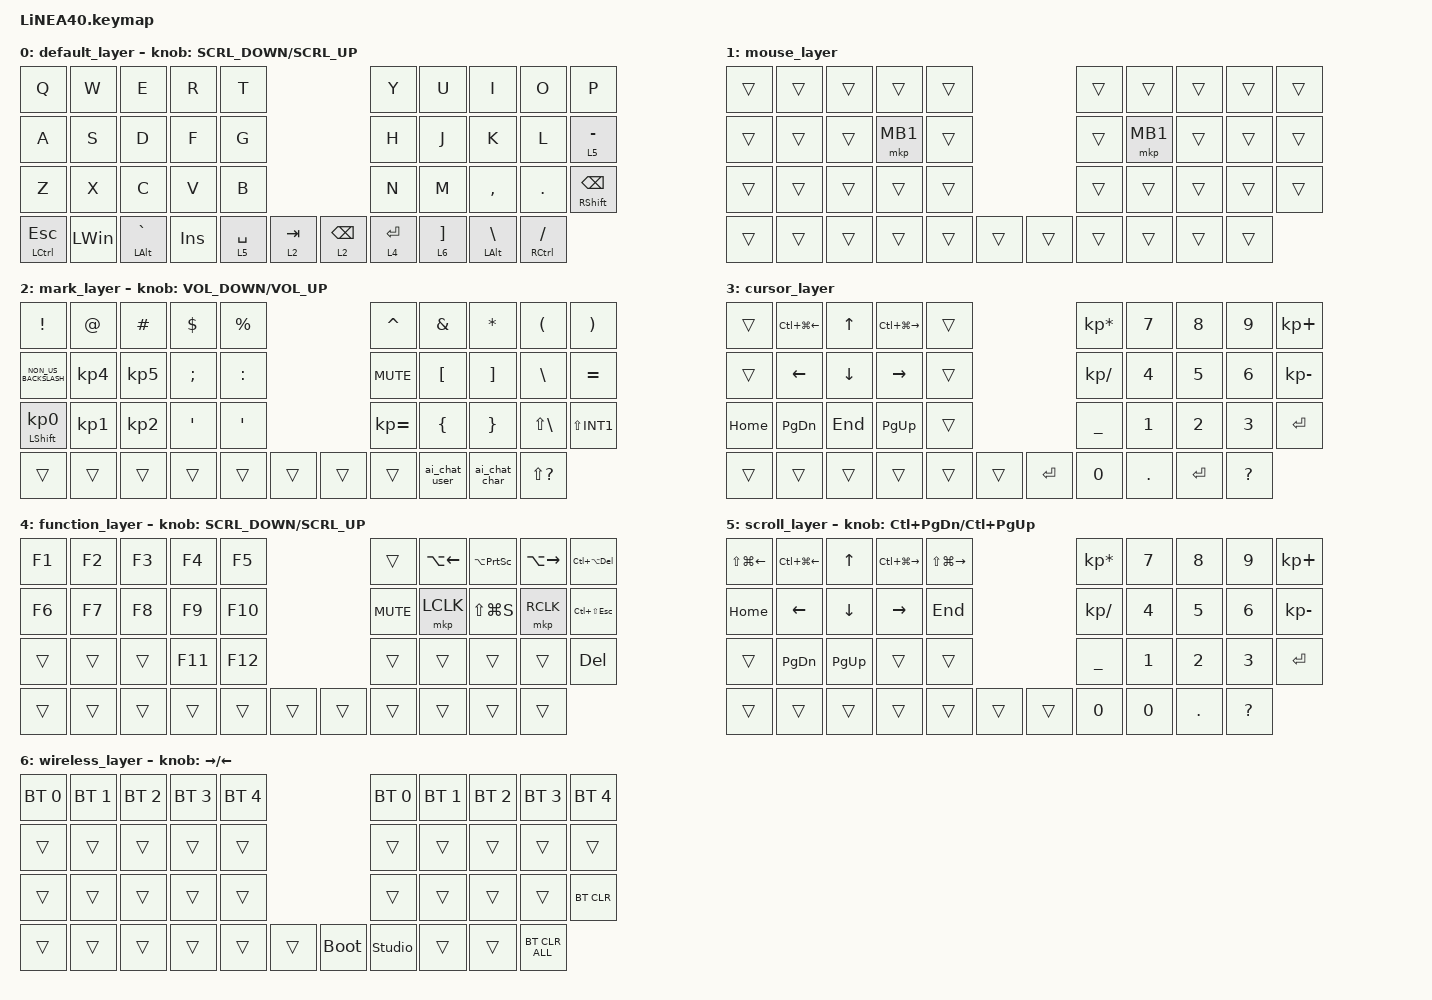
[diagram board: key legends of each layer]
#define ZMK_POINTING_DEFAULT_SCRL_VAL 75

#include <dt-bindings/zmk/input_transform.h>
#include <input/processors.dtsi>
#include <zephyr/dt-bindings/input/input-event-codes.h>
#include <behaviors.dtsi>
#include <dt-bindings/zmk/bt.h>
#include <dt-bindings/zmk/keys.h>
#include <dt-bindings/zmk/pointing.h>

#define MOUSE 1
#define MARK 2
#define CURSOR 3
#define FUNCTION 4
#define SCROLL 5
#define WIRELESS 6

//mouse cursol

&mmv {
    delay-ms = <20>;
    trigger-period-ms = <5>;
    time-to-max-speed-ms = <100>;
    acceleration-exponent = <2>;
};

//mouse scroll

&msc {
    delay-ms = <3>;
    trigger-period-ms = <3>;
    time-to-max-speed-ms = <100>;
    acceleration-exponent = <0>;
};

/ {
    input_processors {
        zip_wheel_scaler: zip_wheel_scaler {
            compatible = "zmk,input-processor-scaler";
            #input-processor-cells = <2>;
            type = <INPUT_EV_REL>;
            codes = <INPUT_REL_WHEEL>;
            track-remainders;
        };

        // 名前を変更（my_scroll_scaler など、重複しない名前に）

        my_scroll_scaler: my_scroll_scaler {
            compatible = "zmk,input-processor-scaler";
            #input-processor-cells = <2>;
            type = <INPUT_EV_REL>;
            codes = <INPUT_REL_WHEEL INPUT_REL_HWHEEL>;
            track-remainders;
        };
    };
};

&msc_input_listener {
    speed_up {
        layers = <FUNCTION>;
        input-processors = <&zip_wheel_scaler 3 1>; //スクロールを3倍速にする
    };
};

&trackball_listener {
    scroller {
        layers = <SCROLL>;
        input-processors =
            <&zip_xy_transform INPUT_TRANSFORM_Y_INVERT>,
            //スクロール方向を逆転,,,,,,,,,,,,,,,,,,,,,,,,,,,,,,,,
            <&zip_xy_to_scroll_mapper>,
            <&my_scroll_scaler 1 1>;

        // ← 変換後にスケーリング（1/1速度）
    };
};

/ {
    combos {
        compatible = "zmk,combos";

        ZenkakuHankaku {
            bindings = <&hankakuzenkaku>;
            key-positions = <11 12>;
        };

        DeleteKey {
            bindings = <&kp DEL>;
            key-positions = <7 8>;
        };

        InsertKey {
            bindings = <&kp INS>;
            key-positions = <6 7>;
        };

        CenterClick {
            bindings = <&mkp MB3>;
            key-positions = <17 16>;
        };

        RightClick {
            bindings = <&mkp MB2>;
            key-positions = <18 17>;
        };

        PrevClick {
            bindings = <&mkp MB5>;
            key-positions = <27 28>;
        };

        ClickNext {
            bindings = <&mkp MB4>;
            key-positions = <26 27>;
        };

        ahkmodifire {
            bindings = <&kp F13>;
            key-positions = <28 29>;
        };

        Lshift {
            bindings = <&kp LEFT_SHIFT>;
            key-positions = <20 21>;
        };

        voiceinput {
            bindings = <&kp LS(LA(SPACE))>;
            key-positions = <15 16>;
        };
    };

    behaviors {
        re_kp: sensor_rotate_kp {
            compatible = "zmk,behavior-sensor-rotate-var";
            #sensor-binding-cells = <2>;
            bindings = <&kp>, <&kp>;
        };

        mouse_scrl: mouse_wheel_scrl {
            compatible = "zmk,behavior-sensor-rotate-var";
            #sensor-binding-cells = <2>;
            bindings = <&msc>, <&msc>;

            tap-ms = <20>;
        };
    };

    macros {
        hankakuzenkaku: hankakuzenkaku {
            compatible = "zmk,behavior-macro";
            #binding-cells = <0>;
            bindings =
                <&macro_press>,
                <&kp LALT>,
                <&macro_tap>,
                <&kp GRAVE>,
                <&macro_release>,
                <&kp LALT>;

            label = "HANKAKUZENKAKU";
        };

        ai_chat_user: ai_chat_user {
            compatible = "zmk,behavior-macro";
            #binding-cells = <0>;
            bindings = <&none &kp LT &kp U &kp S &kp E &kp R &kp GT>;
            label = "AI_CHAT_USER";
        };

        ai_chat_char: ai_chat_char {
            compatible = "zmk,behavior-macro";
            #binding-cells = <0>;
            bindings = <&none &kp LT &kp C &kp H &kp A &kp R &kp GT>;
            label = "AI_CHAT_CHAR";
        };
    };

    keymap {
        compatible = "zmk,keymap";

        default_layer {
            bindings = <
&kp Q          &kp W         &kp E               &kp R    &kp T                                      &kp Y        &kp U  &kp I                &kp O                   &kp P
&kp A          &kp S         &kp D               &kp F    &kp G                                      &kp H        &kp J  &kp K                &kp L                   &lt 5 MINUS
&kp Z          &kp X         &kp C               &kp V    &kp B                                      &kp N        &kp M  &kp COMMA            &kp DOT                 &mt RIGHT_SHIFT BACKSPACE
&mt LCTRL ESC  &kp LEFT_WIN  &mt LEFT_ALT GRAVE  &kp INS  &lt 5 SPACE  &lt 2 TAB    &lt 2 BACKSPACE  &lt 4 ENTER         &lt 6 RIGHT_BRACKET  &mt LEFT_ALT BACKSLASH  &mt RCTRL SLASH
            >;

            sensor-bindings = <&mouse_scrl SCRL_DOWN SCRL_UP>;
        };

        //1

        mouse_layer {
            bindings = <
&trans  &trans  &trans  &trans    &trans                    &trans  &trans    &trans  &trans  &trans
&trans  &trans  &trans  &mkp MB1  &trans                    &trans  &mkp MB1  &trans  &trans  &trans
&trans  &trans  &trans  &trans    &trans                    &trans  &trans    &trans  &trans  &trans
&trans  &trans  &trans  &trans    &trans  &trans    &trans  &trans            &trans  &trans  &trans
            >;
        };

        //2

        mark_layer {
            bindings = <
&kp EXCLAMATION             &kp AT           &kp HASH         &kp DOLLAR     &kp PERCENT                    &kp CARET     &kp AMPERSAND     &kp ASTERISK       &kp LEFT_PARENTHESIS  &kp RIGHT_PARENTHESIS
&kp NON_US_BACKSLASH        &kp KP_NUMBER_4  &kp KP_NUMBER_5  &kp SEMICOLON  &kp COLON                      &kp C_MUTE    &kp LEFT_BRACKET  &kp RIGHT_BRACKET  &kp BACKSLASH         &kp EQUAL
&mt LEFT_SHIFT KP_NUMBER_0  &kp KP_NUMBER_1  &kp KP_NUMBER_2  &kp APOS       &kp SQT                        &kp KP_EQUAL  &kp LEFT_BRACE    &kp RIGHT_BRACE    &kp LS(BACKSLASH)     &kp LS(INT1)
&trans                      &trans           &trans           &trans         &trans       &trans    &trans  &trans                          &ai_chat_user      &ai_chat_char         &kp LS(QUESTION)
            >;

            sensor-bindings = <&re_kp C_VOLUME_DOWN C_VOLUME_UP>;
        };

        //3

        cursor_layer {
            bindings = <
&trans    &kp LC(LG(LEFT_ARROW))  &kp UP_ARROW  &kp LC(LG(RIGHT_ARROW))  &trans                       &kp KP_MULTIPLY  &kp NUMBER_7  &kp NUMBER_8  &kp NUMBER_9  &kp KP_PLUS
&trans    &kp LEFT_ARROW          &kp DOWN      &kp RIGHT_ARROW          &trans                       &kp KP_SLASH     &kp NUMBER_4  &kp NUMBER_5  &kp NUMBER_6  &kp KP_MINUS
&kp HOME  &kp PAGE_DOWN           &kp END       &kp PAGE_UP              &trans                       &kp UNDER        &kp NUMBER_1  &kp NUMBER_2  &kp NUMBER_3  &kp ENTER
&trans    &trans                  &trans        &trans                   &trans  &trans    &kp ENTER  &kp NUMBER_0                   &kp DOT       &kp ENTER     &kp QUESTION
            >;
        };

        //4

        function_layer {
            bindings = <
&kp F1  &kp F2  &kp F3  &kp F4   &kp F5                     &trans      &kp LA(LEFT)  &kp LA(PRINTSCREEN)  &kp LA(RIGHT)  &kp LC(LA(DELETE))
&kp F6  &kp F7  &kp F8  &kp F9   &kp F10                    &kp C_MUTE  &mkp LCLK     &kp LS(LG(S))        &mkp RCLK      &kp LC(LS(ESCAPE))
&trans  &trans  &trans  &kp F11  &kp F12                    &trans      &trans        &trans               &trans         &kp DELETE
&trans  &trans  &trans  &trans   &trans   &trans    &trans  &trans                    &trans               &trans         &trans
            >;

            sensor-bindings = <&mouse_scrl SCRL_DOWN SCRL_UP>;
        };

        //5

        scroll_layer {
            bindings = <
&kp LS(LG(LEFT))  &kp LC(LG(LEFT_ARROW))  &kp UP_ARROW  &kp LC(LG(RIGHT_ARROW))  &kp LS(LG(RIGHT))                    &kp KP_MULTIPLY  &kp NUMBER_7  &kp NUMBER_8  &kp NUMBER_9  &kp KP_PLUS
&kp HOME          &kp LEFT_ARROW          &kp DOWN      &kp RIGHT_ARROW          &kp END                              &kp KP_SLASH     &kp NUMBER_4  &kp NUMBER_5  &kp NUMBER_6  &kp KP_MINUS
&trans            &kp PAGE_DOWN           &kp PAGE_UP   &trans                   &trans                               &kp UNDER        &kp NUMBER_1  &kp NUMBER_2  &kp NUMBER_3  &kp ENTER
&trans            &trans                  &trans        &trans                   &trans             &trans    &trans  &kp NUMBER_0                   &kp NUMBER_0  &kp DOT       &kp QUESTION
            >;

            sensor-bindings = <&inc_dec_kp LC(PAGE_DOWN) LC(PAGE_UP)>;
        };

        //6

        wireless_layer {
            bindings = <
&bt BT_SEL 0  &bt BT_SEL 1  &bt BT_SEL 2  &bt BT_SEL 3  &bt BT_SEL 4                         &bt BT_SEL 0    &bt BT_SEL 1  &bt BT_SEL 2  &bt BT_SEL 3  &bt BT_SEL 4
&trans        &trans        &trans        &trans        &trans                               &trans          &trans        &trans        &trans        &trans
&trans        &trans        &trans        &trans        &trans                               &trans          &trans        &trans        &trans        &bt BT_CLR
&trans        &trans        &trans        &trans        &trans        &trans    &bootloader  &studio_unlock                &trans        &trans        &bt BT_CLR_ALL
            >;

            sensor-bindings = <&inc_dec_kp RIGHT_ARROW LEFT_ARROW>;
        };
    };
};
